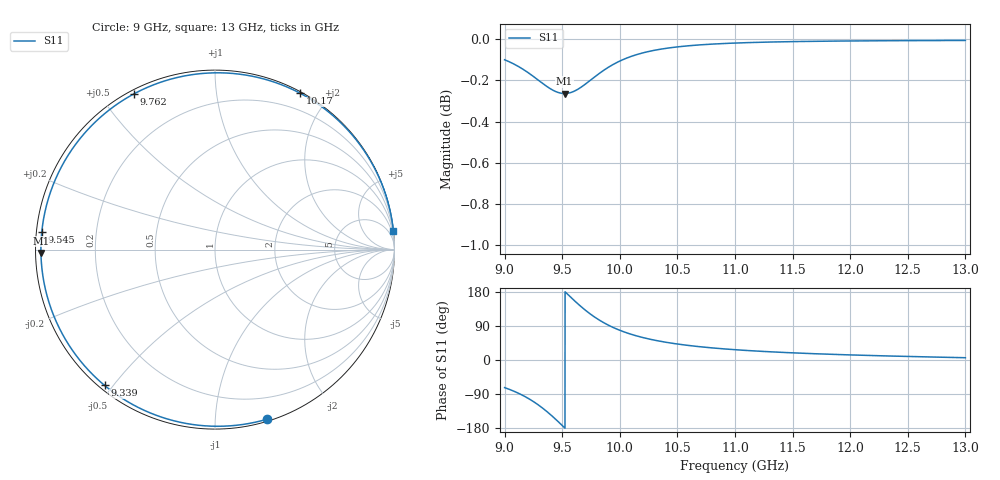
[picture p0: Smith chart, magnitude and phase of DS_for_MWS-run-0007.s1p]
! TOUCHSTONE file generated by CST DESIGN STUDIO
! Date and time: Tue Feb  4 13:40:08 2025
! Project name: C:\Work\MatlabApps\UnitCellOptimizationMatlab\CST\unitcell.cst
! Tree item: Tasks\Sweep1\SPara1\S-Parameters
! Header version: 2024
! Port assignment regex: !\s*Touchstone port\s*([0-9]+)\s*=\s*(CST MWS port|CST DES external port|CST DES block port)\s*(.+)\s* \(\"(.*)\"\)(\s*mode\s*([0-9]+))?.*
! Touchstone port assignment:
! Touchstone port 1 = CST DES external port 1 ("")
# GHz S MA R 50
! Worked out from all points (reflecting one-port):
!   4001 points, 9 GHz to 13 GHz, reference 50 ohm
!   lowest |S11| = -0.3 dB at 9.521 GHz (marker M1), VSWR 65.82, Z = 0.76 - j0.484 ohm
!   phase of S11 starts at -73 deg and turns -281 deg over the sweep
!   S11 on the Smith chart (normalised r, x): 9 GHz: 0.02, -1.35; 9.339 GHz: 0.02, -0.48; 9.545 GHz: 0.02, +0.05; 9.762 GHz: 0.02, +0.61; 10.17 GHz: 0.02, +1.69; 13 GHz: 0, +19
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9  0.9886 -72.9
9.093  0.9858 -84.0
9.198  0.9817 -100.0
9.272  0.9784 -114.1
9.339  0.9752 -129.1
9.383  0.9732 -140.1
9.428  0.9716 -152.2
9.465  0.9706 -162.6
9.5  0.9701 -172.7
9.521  0.9701 -178.9
9.545  0.9702 174.1
9.599  0.9712 158.5
9.659  0.9733 142.1
9.71  0.9756 129.3
9.762  0.9782 117.4
9.812  0.9806 107.2
9.866  0.983 97.5
10  0.9879 78.4
10.083  0.9901 69.3
10.173  0.9919 61.3
10.322  0.9941 51.1
10.5  0.9957 42.2
10.722  0.997 34.2
11  0.9979 27.2
11.5  0.9987 18.9
12  0.999 13.4
12.5  0.9992 9.3
13  0.9993 6.0
